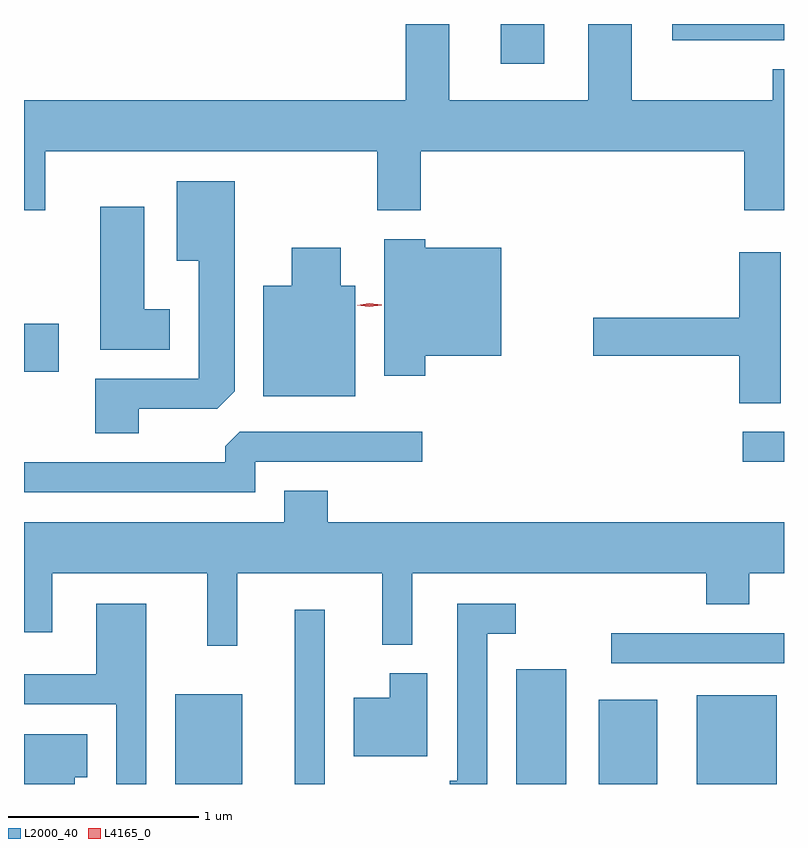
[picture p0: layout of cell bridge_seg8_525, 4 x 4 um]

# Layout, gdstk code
import gdstk
lib = gdstk.Library(unit=1e-6, precision=1e-09)
def R(c, l, rs):  # rectangles x0, y0, x1, y1
    for r in rs: c.add(gdstk.rectangle(r[:2], r[2:], *l))
def P(c, l, *ps):  # polygons
    for p in ps: c.add(gdstk.Polygon(p, *l))
L2000_40 = (2000, 40)
L4165_0 = (4165, 0)

bridge_seg8_525 = lib.new_cell('bridge_seg8_525')
R(bridge_seg8_525, L2000_40, [(402.506,1870.826,402.859,1871.299), (403.136,1870.826,403.294,1871.743), (404.301,1870.826,404.564,1871.429), (404.736,1870.826,405.044,1871.269), (405.251,1870.826,405.674,1871.294), (404.803,1871.461,405.711,1871.619), (405.493,1872.521,405.711,1872.679), (401.711,1872.996,401.894,1873.249), (404.221,1874.616,404.449,1874.826), (405.123,1874.741,405.711,1874.826)])
P(bridge_seg8_525, L2000_40, [(401.824,1874.156),(403.571,1874.156),(403.571,1873.846),(403.799,1873.846),(403.799,1874.156),(405.501,1874.156),(405.501,1873.846),(405.711,1873.846),(405.711,1874.589),(405.651,1874.589),(405.651,1874.424),(404.909,1874.424),(404.909,1874.826),(404.681,1874.826),(404.681,1874.424),(403.949,1874.424),(403.949,1874.824),(403.721,1874.824),(403.721,1874.424),(401.711,1874.424),(401.711,1873.846),(401.824,1873.846)],
  [(402.314,1872.801),(402.729,1872.801),(402.819,1872.892),(402.819,1873.999),(402.516,1873.999),(402.516,1873.581),(402.631,1873.581),(402.631,1872.959),(402.086,1872.959),(402.086,1872.671),(402.314,1872.671)],
  [(402.479,1873.324),(402.344,1873.324),(402.344,1873.864),(402.111,1873.864),(402.111,1873.111),(402.479,1873.111)],
  [(403.824,1873.081),(404.224,1873.081),(404.224,1873.649),(403.824,1873.649),(403.824,1873.694),(403.606,1873.694),(403.606,1872.976),(403.824,1872.976)],
  [(403.454,1873.449),(403.379,1873.449),(403.379,1873.649),(403.121,1873.649),(403.121,1873.449),(402.971,1873.449),(402.971,1872.866),(403.454,1872.866)],
  [(405.694,1873.624),(405.476,1873.624),(405.476,1873.279),(404.706,1873.279),(404.706,1873.081),(405.476,1873.081),(405.476,1872.831),(405.694,1872.831)],
  [(402.929,1872.521),(403.808,1872.521),(403.808,1872.679),(402.847,1872.679),(402.771,1872.604),(402.771,1872.519),(401.711,1872.519),(401.711,1872.361),(402.929,1872.361)],
  [(402.834,1871.936),(403.596,1871.936),(403.596,1871.558),(403.754,1871.558),(403.754,1871.936),(405.301,1871.936),(405.301,1871.771),(405.529,1871.771),(405.529,1871.936),(405.711,1871.936),(405.711,1872.204),(403.309,1872.204),(403.309,1872.369),(403.081,1872.369),(403.081,1872.204),(401.711,1872.204),(401.711,1871.626),(401.859,1871.626),(401.859,1871.936),(402.676,1871.936),(402.676,1871.553),(402.834,1871.553)],
  [(404.149,1871.616),(404.298,1871.616),(404.298,1871.774),(403.991,1871.774),(403.991,1870.844),(403.951,1870.844),(403.951,1870.826),(404.149,1870.826)],
  [(402.354,1871.774),(402.091,1871.774),(402.091,1871.404),(401.711,1871.404),(401.711,1871.246),(402.196,1871.246),(402.196,1870.826),(402.354,1870.826)],
  [(403.834,1871.409),(403.636,1871.409),(403.636,1871.279),(403.446,1871.279),(403.446,1870.971),(403.834,1870.971)],
  [(401.979,1870.861),(402.044,1870.861),(402.044,1871.089),(401.711,1871.089),(401.711,1870.826),(401.979,1870.826)])
P(bridge_seg8_525, L4165_0, [(403.529,1873.337),(403.464,1873.346),(403.463,1873.347),(403.464,1873.347),(403.529,1873.357),(403.594,1873.348),(403.595,1873.348),(403.594,1873.347)])

lib.write_gds('bridge_seg8_525.gds')
